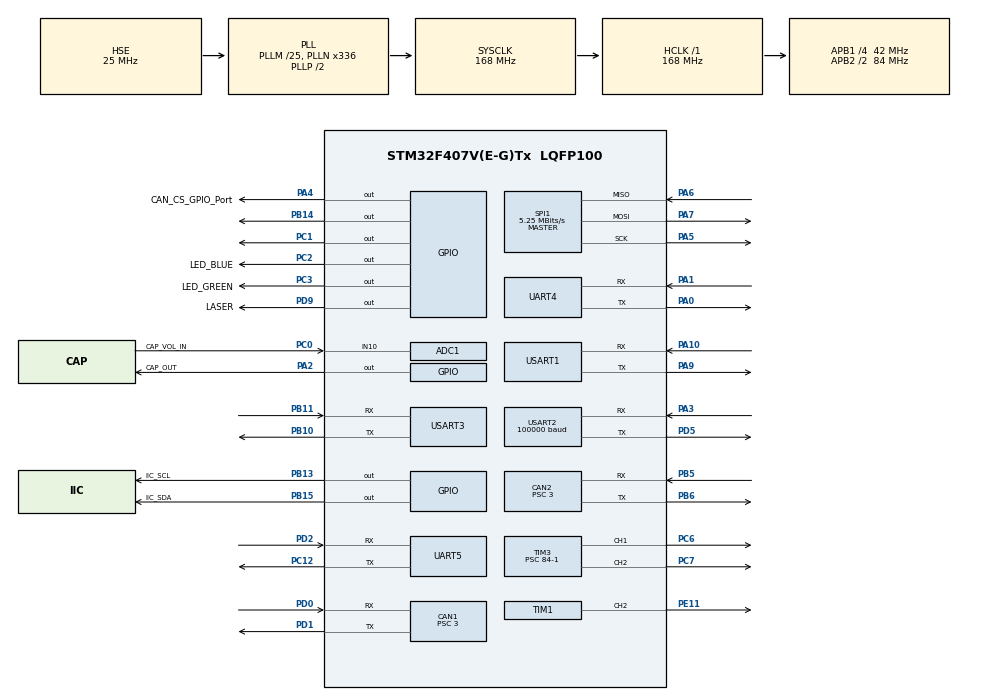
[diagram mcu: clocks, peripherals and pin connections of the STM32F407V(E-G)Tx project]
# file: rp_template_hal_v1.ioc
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ADC1.Channel-0\#ChannelRegularConversion=ADC_CHANNEL_10
ADC1.NbrOfConversionFlag=1
ADC1.Rank-0\#ChannelRegularConversion=1
ADC1.SamplingTime-0\#ChannelRegularConversion=ADC_SAMPLETIME_3CYCLES
ADC1.master=1
CAN1.BS1=CAN_BS1_9TQ
CAN1.BS2=CAN_BS2_4TQ
CAN1.CalculateBaudRate=1000000
CAN1.CalculateTimeQuantum=71.42857142857143
CAN1.Prescaler=3
CAN1.TXFP=ENABLE
CAN2.BS1=CAN_BS1_9TQ
CAN2.BS2=CAN_BS2_4TQ
CAN2.CalculateBaudRate=1000000
CAN2.CalculateTimeQuantum=71.42857142857143
CAN2.Prescaler=3
CAN2.TXFP=ENABLE
Dma.Request0=UART5_RX
Dma.Request1=USART1_RX
Dma.Request2=UART4_RX
Dma.Request3=USART2_RX
Dma.Request4=UART5_TX
Dma.Request5=USART3_RX
Dma.Request6=USART3_TX
Dma.Request7=SPI1_RX
Dma.Request8=SPI1_TX
Dma.SPI1_RX.7.Direction=DMA_PERIPH_TO_MEMORY
Dma.SPI1_RX.7.FIFOMode=DMA_FIFOMODE_DISABLE
Dma.SPI1_RX.7.Instance=DMA2_Stream0
Dma.SPI1_RX.7.MemDataAlignment=DMA_MDATAALIGN_BYTE
Dma.SPI1_RX.7.MemInc=DMA_MINC_ENABLE
Dma.SPI1_RX.7.Mode=DMA_CIRCULAR
Dma.SPI1_RX.7.PeriphDataAlignment=DMA_PDATAALIGN_BYTE
Dma.SPI1_RX.7.PeriphInc=DMA_PINC_DISABLE
Dma.SPI1_RX.7.Priority=DMA_PRIORITY_LOW
Dma.SPI1_TX.8.Direction=DMA_MEMORY_TO_PERIPH
Dma.SPI1_TX.8.FIFOMode=DMA_FIFOMODE_DISABLE
Dma.SPI1_TX.8.Instance=DMA2_Stream3
Dma.SPI1_TX.8.MemDataAlignment=DMA_MDATAALIGN_BYTE
Dma.SPI1_TX.8.MemInc=DMA_MINC_ENABLE
Dma.SPI1_TX.8.Mode=DMA_CIRCULAR
Dma.SPI1_TX.8.PeriphDataAlignment=DMA_PDATAALIGN_BYTE
Dma.SPI1_TX.8.PeriphInc=DMA_PINC_DISABLE
Dma.SPI1_TX.8.Priority=DMA_PRIORITY_LOW
Dma.UART4_RX.2.Direction=DMA_PERIPH_TO_MEMORY
Dma.UART4_RX.2.FIFOMode=DMA_FIFOMODE_DISABLE
Dma.UART4_RX.2.Instance=DMA1_Stream2
Dma.UART4_RX.2.MemDataAlignment=DMA_MDATAALIGN_BYTE
Dma.UART4_RX.2.MemInc=DMA_MINC_ENABLE
Dma.UART4_RX.2.Mode=DMA_CIRCULAR
Dma.UART4_RX.2.PeriphDataAlignment=DMA_PDATAALIGN_BYTE
Dma.UART4_RX.2.PeriphInc=DMA_PINC_DISABLE
Dma.UART4_RX.2.Priority=DMA_PRIORITY_LOW
Dma.UART5_RX.0.Direction=DMA_PERIPH_TO_MEMORY
Dma.UART5_RX.0.FIFOMode=DMA_FIFOMODE_DISABLE
Dma.UART5_RX.0.Instance=DMA1_Stream0
Dma.UART5_RX.0.MemDataAlignment=DMA_MDATAALIGN_BYTE
Dma.UART5_RX.0.MemInc=DMA_MINC_ENABLE
Dma.UART5_RX.0.Mode=DMA_CIRCULAR
Dma.UART5_RX.0.PeriphDataAlignment=DMA_PDATAALIGN_BYTE
Dma.UART5_RX.0.PeriphInc=DMA_PINC_DISABLE
Dma.UART5_RX.0.Priority=DMA_PRIORITY_VERY_HIGH
Dma.UART5_TX.4.Direction=DMA_MEMORY_TO_PERIPH
Dma.UART5_TX.4.FIFOMode=DMA_FIFOMODE_DISABLE
Dma.UART5_TX.4.Instance=DMA1_Stream7
Dma.UART5_TX.4.MemDataAlignment=DMA_MDATAALIGN_BYTE
Dma.UART5_TX.4.MemInc=DMA_MINC_ENABLE
Dma.UART5_TX.4.Mode=DMA_CIRCULAR
Dma.UART5_TX.4.PeriphDataAlignment=DMA_PDATAALIGN_BYTE
Dma.UART5_TX.4.PeriphInc=DMA_PINC_DISABLE
Dma.UART5_TX.4.Priority=DMA_PRIORITY_VERY_HIGH
Dma.USART1_RX.1.Direction=DMA_PERIPH_TO_MEMORY
Dma.USART1_RX.1.FIFOMode=DMA_FIFOMODE_DISABLE
Dma.USART1_RX.1.Instance=DMA2_Stream2
Dma.USART1_RX.1.MemDataAlignment=DMA_MDATAALIGN_BYTE
Dma.USART1_RX.1.MemInc=DMA_MINC_ENABLE
Dma.USART1_RX.1.Mode=DMA_CIRCULAR
Dma.USART1_RX.1.PeriphDataAlignment=DMA_PDATAALIGN_BYTE
Dma.USART1_RX.1.PeriphInc=DMA_PINC_DISABLE
Dma.USART1_RX.1.Priority=DMA_PRIORITY_HIGH
Dma.USART2_RX.3.Direction=DMA_PERIPH_TO_MEMORY
Dma.USART2_RX.3.FIFOMode=DMA_FIFOMODE_DISABLE
Dma.USART2_RX.3.Instance=DMA1_Stream5
Dma.USART2_RX.3.MemDataAlignment=DMA_MDATAALIGN_BYTE
Dma.USART2_RX.3.MemInc=DMA_MINC_ENABLE
Dma.USART2_RX.3.Mode=DMA_CIRCULAR
Dma.USART2_RX.3.PeriphDataAlignment=DMA_PDATAALIGN_BYTE
Dma.USART2_RX.3.PeriphInc=DMA_PINC_DISABLE
Dma.USART2_RX.3.Priority=DMA_PRIORITY_VERY_HIGH
Dma.USART3_RX.5.Direction=DMA_PERIPH_TO_MEMORY
Dma.USART3_RX.5.FIFOMode=DMA_FIFOMODE_DISABLE
Dma.USART3_RX.5.Instance=DMA1_Stream1
Dma.USART3_RX.5.MemDataAlignment=DMA_MDATAALIGN_BYTE
Dma.USART3_RX.5.MemInc=DMA_MINC_ENABLE
Dma.USART3_RX.5.Mode=DMA_CIRCULAR
Dma.USART3_RX.5.PeriphDataAlignment=DMA_PDATAALIGN_BYTE
Dma.USART3_RX.5.PeriphInc=DMA_PINC_DISABLE
Dma.USART3_RX.5.Priority=DMA_PRIORITY_HIGH
Dma.USART3_TX.6.Direction=DMA_MEMORY_TO_PERIPH
Dma.USART3_TX.6.FIFOMode=DMA_FIFOMODE_DISABLE
Dma.USART3_TX.6.Instance=DMA1_Stream3
Dma.USART3_TX.6.MemDataAlignment=DMA_MDATAALIGN_BYTE
Dma.USART3_TX.6.MemInc=DMA_MINC_ENABLE
Dma.USART3_TX.6.Mode=DMA_CIRCULAR
Dma.USART3_TX.6.PeriphDataAlignment=DMA_PDATAALIGN_BYTE
Dma.USART3_TX.6.PeriphInc=DMA_PINC_DISABLE
Dma.USART3_TX.6.Priority=DMA_PRIORITY_HIGH
Mcu.Family=STM32F4
Mcu.Name=STM32F407V(E-G)Tx
Mcu.Package=LQFP100
NVIC.CAN1_RX0_IRQn=true\:0\:0\:false\:false\:true\:true\:true\:true
NVIC.CAN2_RX0_IRQn=true\:0\:0\:false\:false\:true\:true\:true\:true
NVIC.DMA1_Stream0_IRQn=true\:0\:0\:false\:false\:true\:false\:true\:true
NVIC.DMA1_Stream1_IRQn=true\:0\:0\:false\:false\:true\:false\:true\:true
NVIC.DMA1_Stream2_IRQn=true\:0\:0\:false\:false\:true\:false\:true\:true
NVIC.DMA1_Stream3_IRQn=true\:0\:0\:false\:false\:true\:false\:true\:true
NVIC.DMA1_Stream5_IRQn=true\:0\:0\:false\:false\:true\:false\:true\:true
NVIC.DMA1_Stream7_IRQn=true\:0\:0\:false\:false\:true\:false\:true\:true
NVIC.DMA2_Stream0_IRQn=true\:0\:0\:false\:false\:true\:false\:true\:true
NVIC.DMA2_Stream2_IRQn=true\:0\:0\:false\:false\:true\:false\:true\:true
NVIC.DMA2_Stream3_IRQn=true\:0\:0\:false\:false\:true\:false\:true\:true
NVIC.PriorityGroup=NVIC_PRIORITYGROUP_4
NVIC.TIM2_IRQn=true\:15\:0\:false\:false\:true\:false\:true\:true
NVIC.TimeBase=TIM2_IRQn
NVIC.TimeBaseIP=TIM2
NVIC.UART4_IRQn=true\:0\:0\:false\:false\:true\:true\:true\:true
NVIC.UART5_IRQn=true\:0\:0\:false\:false\:true\:true\:true\:true
NVIC.USART1_IRQn=true\:0\:0\:false\:false\:true\:true\:true\:true
NVIC.USART2_IRQn=true\:0\:0\:false\:false\:true\:true\:true\:true
NVIC.USART3_IRQn=true\:0\:0\:false\:false\:true\:true\:true\:true
PA0-WKUP.Mode=Asynchronous
PA0-WKUP.Signal=UART4_TX
PA1.Mode=Asynchronous
PA1.Signal=UART4_RX
PA10.Mode=Asynchronous
PA10.Signal=USART1_RX
PA2.GPIO_Label=CAP_OUT
PA2.GPIO_Speed=GPIO_SPEED_FREQ_VERY_HIGH
PA2.Signal=GPIO_Output
PA3.Mode=Asynchronous
PA3.Signal=USART2_RX
PA4.GPIO_Label=CAN_CS_GPIO_Port
PA4.GPIO_Speed=GPIO_SPEED_FREQ_VERY_HIGH
PA4.Signal=GPIO_Output
PA5.Mode=Full_Duplex_Master
PA5.Signal=SPI1_SCK
PA6.Mode=Full_Duplex_Master
PA6.Signal=SPI1_MISO
PA7.Mode=Full_Duplex_Master
PA7.Signal=SPI1_MOSI
PA9.Mode=Asynchronous
PA9.Signal=USART1_TX
PB10.Mode=Asynchronous
PB10.Signal=USART3_TX
PB11.Mode=Asynchronous
PB11.Signal=USART3_RX
PB13.GPIO_Label=IIC_SCL
PB13.GPIO_Speed=GPIO_SPEED_FREQ_VERY_HIGH
PB13.PinState=GPIO_PIN_SET
PB13.Signal=GPIO_Output
PB14.GPIO_ModeDefaultOutputPP=GPIO_MODE_OUTPUT_PP
PB14.GPIO_PuPd=GPIO_PULLUP
PB14.GPIO_Speed=GPIO_SPEED_FREQ_VERY_HIGH
PB14.PinState=GPIO_PIN_SET
PB14.Signal=GPIO_Output
PB15.GPIO_Label=IIC_SDA
PB15.GPIO_Speed=GPIO_SPEED_FREQ_VERY_HIGH
PB15.PinState=GPIO_PIN_SET
PB15.Signal=GPIO_Output
PB5.Mode=CAN_Activate
PB5.Signal=CAN2_RX
PB6.Mode=CAN_Activate
PB6.Signal=CAN2_TX
PC0.GPIO_Label=CAP_VOL_IN
PC0.Signal=ADCx_IN10
PC1.Signal=GPIO_Output
PC12.Mode=Asynchronous
PC12.Signal=UART5_TX
PC2.GPIO_Label=LED_BLUE
PC2.PinState=GPIO_PIN_SET
PC2.Signal=GPIO_Output
PC3.GPIO_Label=LED_GREEN
PC3.GPIO_Speed=GPIO_SPEED_FREQ_LOW
PC3.PinState=GPIO_PIN_SET
PC3.Signal=GPIO_Output
PC6.Signal=S_TIM3_CH1
PC7.Signal=S_TIM3_CH2
PD0.Mode=CAN_Activate
PD0.Signal=CAN1_RX
PD1.Mode=CAN_Activate
PD1.Signal=CAN1_TX
PD2.Mode=Asynchronous
PD2.Signal=UART5_RX
PD5.Mode=Asynchronous
PD5.Signal=USART2_TX
PD9.GPIO_Label=LASER
PD9.GPIO_Speed=GPIO_SPEED_FREQ_LOW
PD9.PinState=GPIO_PIN_SET
PD9.Signal=GPIO_Output
PE11.Signal=S_TIM1_CH2
PH0-OSC_IN.Mode=HSE-External-Oscillator
PH0-OSC_IN.Signal=RCC_OSC_IN
PH1-OSC_OUT.Mode=HSE-External-Oscillator
PH1-OSC_OUT.Signal=RCC_OSC_OUT
ProjectManager.HeapSize=0x200
ProjectManager.StackSize=0x400
ProjectManager.TargetToolchain=MDK-ARM V5
RCC.48MHZClocksFreq_Value=84000000
RCC.AHBFreq_Value=168000000
RCC.APB1CLKDivider=RCC_HCLK_DIV4
RCC.APB1Freq_Value=42000000
RCC.APB1TimFreq_Value=84000000
RCC.APB2CLKDivider=RCC_HCLK_DIV2
RCC.APB2Freq_Value=84000000
RCC.APB2TimFreq_Value=168000000
RCC.CortexFreq_Value=168000000
RCC.HCLKFreq_Value=168000000
RCC.HSE_VALUE=25000000
RCC.HSI_VALUE=16000000
RCC.LSE_VALUE=32768
RCC.PLLM=25
RCC.PLLN=336
RCC.PLLSourceVirtual=RCC_PLLSOURCE_HSE
RCC.SYSCLKFreq_VALUE=168000000
RCC.SYSCLKSource=RCC_SYSCLKSOURCE_PLLCLK
RCC.VCOOutputFreq_Value=336000000
SH.ADCx_IN10.0=ADC1_IN10,IN10
SH.S_TIM1_CH2.0=TIM1_CH2,PWM Generation2 CH2
SH.S_TIM3_CH1.0=TIM3_CH1,PWM Generation1 CH1
SH.S_TIM3_CH2.0=TIM3_CH2,PWM Generation2 CH2
SPI1.BaudRatePrescaler=SPI_BAUDRATEPRESCALER_16
SPI1.CalculateBaudRate=5.25 MBits/s
SPI1.Direction=SPI_DIRECTION_2LINES
SPI1.Mode=SPI_MODE_MASTER
SPI1.VirtualType=VM_MASTER
TIM1.Channel-PWM\ Generation2\ CH2=TIM_CHANNEL_2
TIM1.Period=1000-1
TIM1.Prescaler=3360-1
TIM3.Channel-PWM\ Generation1\ CH1=TIM_CHANNEL_1
TIM3.Channel-PWM\ Generation2\ CH2=TIM_CHANNEL_2
TIM3.Period=2500-1
TIM3.Prescaler=84-1
UART4.VirtualMode=Asynchronous
UART5.VirtualMode=Asynchronous
USART1.VirtualMode=VM_ASYNC
USART2.BaudRate=100000
USART2.VirtualMode=VM_ASYNC
USART3.VirtualMode=VM_ASYNC
VP_SYS_VS_tim2.Mode=TIM2
VP_TIM1_VS_ClockSourceINT.Mode=Internal
VP_TIM3_VS_ClockSourceINT.Mode=Internal
board=custom

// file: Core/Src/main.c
/* USER CODE BEGIN Header */
/**
  ******************************************************************************
  * @file           : main.c
  * @brief          : Main program body
  ******************************************************************************
  * @attention
  *
  * <h2><center>&copy; Copyright (c) 2023 STMicroelectronics.
  * All rights reserved.</center></h2>
  *
  * This software component is licensed by ST under Ultimate Liberty license
  * SLA0044, the "License"; You may not use this file except in compliance with
  * the License. You may obtain a copy of the License at:
  *                             www.st.com/SLA0044
  *
  ******************************************************************************
  */
/* USER CODE END Header */
#include "main.h"
#include "adc.h"
#include "can.h"
#include "dma.h"
#include "spi.h"
#include "tim.h"
#include "usart.h"
#include "gpio.h"

/* USER CODE BEGIN Includes */
#include "driver.h"
#include "CANSPI.h"
#include "MCP2515.h"
#include "6020_motor.h"
/* USER CODE END Includes */

/* USER CODE BEGIN PV */

extern SPI_HandleTypeDef      hspi1;
uCAN_MSG                      SPI2CAN_Rx;
uCAN_MSG                      SPI2CAN_Tx;

/* USER CODE END PV */

void SystemClock_Config(void);

int main(void)
{

  /* MCU Configuration--------------------------------------------------------*/

  /* Reset of all peripherals, Initializes the Flash interface and the Systick. */
  HAL_Init();

  /* Configure the system clock */
  SystemClock_Config();

  /* Initialize all configured peripherals */
  MX_GPIO_Init();
  MX_DMA_Init();
  MX_TIM3_Init();
  MX_USART2_UART_Init();
  MX_CAN1_Init();
  MX_CAN2_Init();
  MX_TIM1_Init();
  MX_ADC1_Init();
  MX_UART4_Init();
  MX_UART5_Init();
  MX_USART1_UART_Init();
  MX_USART3_UART_Init();
  MX_SPI1_Init();
  /* USER CODE BEGIN 2 */

  DRIVER_Init();
  /*初始化*/

  CANSPI_Initialize();

  SPI2CAN_Tx.frame.id     = 0x1ff;
  SPI2CAN_Tx.frame.idType = dSTANDARD_CAN_MSG_ID_2_0B;
  SPI2CAN_Tx.frame.dlc    = 0x08;
  SPI2CAN_Tx.frame.data0  = 0;
  SPI2CAN_Tx.frame.data1  = 0;
  SPI2CAN_Tx.frame.data2  = 12;
  SPI2CAN_Tx.frame.data3  = 79;
  SPI2CAN_Tx.frame.data4  = 4;
  SPI2CAN_Tx.frame.data5  = 5;
  SPI2CAN_Tx.frame.data6  = 6;
  SPI2CAN_Tx.frame.data7  = 7;

  while(1)

  {

	  if(CANSPI_Transmit(&SPI2CAN_Tx) == 1)
	  {
		LED_BLUE_ON();
	  }
	  else
	  {
		LED_BLUE_OFF();
	  }
;

	  if(CANSPI_Receive(&SPI2CAN_Rx) == 1)
	  {
		LED_GREEN_ON();
	  }
	  else
	  {
		LED_GREEN_OFF();
	  }

	MOTOR_6020_CAN1_SENT_DATA(1000,2000,3000,4000);

	HAL_Delay(1);

  }

  /* USER CODE END 2 */

  /* Infinite loop */
  while (1)
  {

  }
}

void SystemClock_Config(void)
{
  RCC_OscInitTypeDef RCC_OscInitStruct = {0};
  RCC_ClkInitTypeDef RCC_ClkInitStruct = {0};

  /** Configure the main internal regulator output voltage
  */
  __HAL_RCC_PWR_CLK_ENABLE();
  __HAL_PWR_VOLTAGESCALING_CONFIG(PWR_REGULATOR_VOLTAGE_SCALE1);

  /** Initializes the RCC Oscillators according to the specified parameters
  * in the RCC_OscInitTypeDef structure.
  */
  RCC_OscInitStruct.OscillatorType = RCC_OSCILLATORTYPE_HSE;
  RCC_OscInitStruct.HSEState = RCC_HSE_ON;
  RCC_OscInitStruct.PLL.PLLState = RCC_PLL_ON;
  RCC_OscInitStruct.PLL.PLLSource = RCC_PLLSOURCE_HSE;
  RCC_OscInitStruct.PLL.PLLM = 25;
  RCC_OscInitStruct.PLL.PLLN = 336;
  RCC_OscInitStruct.PLL.PLLP = RCC_PLLP_DIV2;
  RCC_OscInitStruct.PLL.PLLQ = 4;
  if (HAL_RCC_OscConfig(&RCC_OscInitStruct) != HAL_OK)
  {
    Error_Handler();
  }

  /** Initializes the CPU, AHB and APB buses clocks
  */
  RCC_ClkInitStruct.ClockType = RCC_CLOCKTYPE_HCLK|RCC_CLOCKTYPE_SYSCLK
                              |RCC_CLOCKTYPE_PCLK1|RCC_CLOCKTYPE_PCLK2;
  RCC_ClkInitStruct.SYSCLKSource = RCC_SYSCLKSOURCE_PLLCLK;
  RCC_ClkInitStruct.AHBCLKDivider = RCC_SYSCLK_DIV1;
  RCC_ClkInitStruct.APB1CLKDivider = RCC_HCLK_DIV4;
  RCC_ClkInitStruct.APB2CLKDivider = RCC_HCLK_DIV2;

  if (HAL_RCC_ClockConfig(&RCC_ClkInitStruct, FLASH_LATENCY_5) != HAL_OK)
  {
    Error_Handler();
  }
}

void HAL_TIM_PeriodElapsedCallback(TIM_HandleTypeDef *htim)
{
  if (htim->Instance == TIM2) {
    HAL_IncTick();
  }
}

void Error_Handler(void)
{
}
